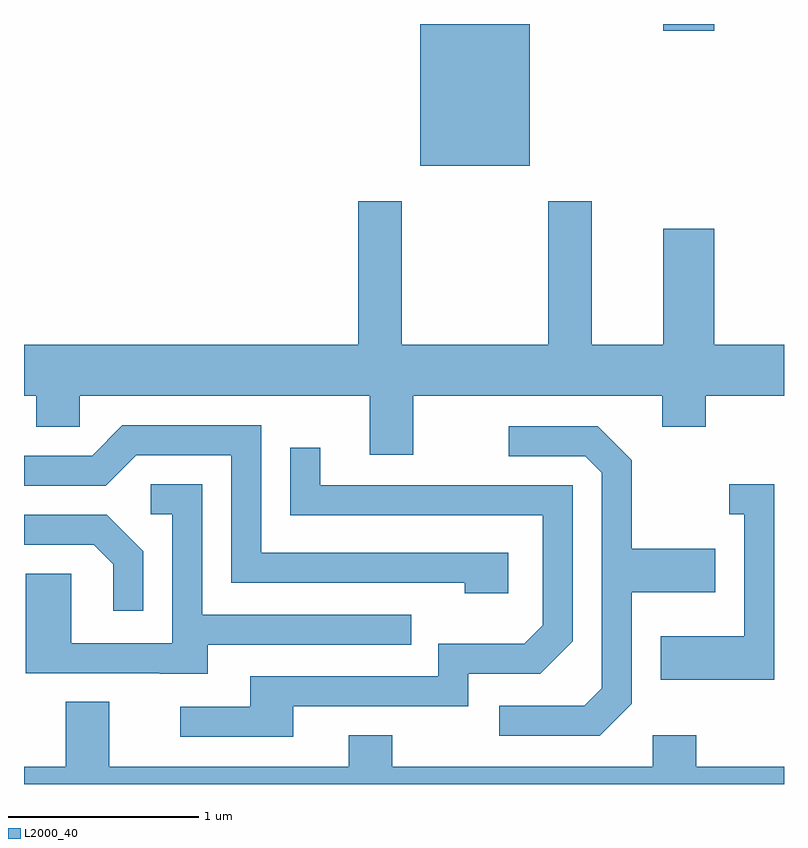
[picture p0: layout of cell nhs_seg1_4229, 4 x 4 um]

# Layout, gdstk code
import gdstk
lib = gdstk.Library(unit=1e-6, precision=1e-09)
def R(c, l, rs):  # rectangles x0, y0, x1, y1
    for r in rs: c.add(gdstk.rectangle(r[:2], r[2:], *l))
def P(c, l, *ps):  # polygons
    for p in ps: c.add(gdstk.Polygon(p, *l))
L2000_40 = (2000, 40)

nhs_seg1_4229 = lib.new_cell('nhs_seg1_4229')
R(nhs_seg1_4229, L2000_40, [(313.696,942.966,314.274,943.712), (314.976,943.676,315.244,943.712)])
P(nhs_seg1_4229, L2000_40, [(313.659,941.756),(314.971,941.756),(314.971,941.591),(315.199,941.591),(315.199,941.756),(315.611,941.756),(315.611,942.024),(315.244,942.024),(315.244,942.634),(314.976,942.634),(314.976,942.024),(314.599,942.024),(314.599,942.779),(314.371,942.779),(314.371,942.024),(313.599,942.024),(313.599,942.779),(313.371,942.779),(313.371,942.024),(311.611,942.024),(311.611,941.756),(311.676,941.756),(311.676,941.591),(311.904,941.591),(311.904,941.756),(313.431,941.756),(313.431,941.446),(313.659,941.446)],
  [(314.159,940.929),(312.859,940.929),(312.859,941.599),(312.129,941.599),(311.969,941.439),(311.611,941.439),(311.611,941.281),(312.042,941.281),(312.202,941.441),(312.701,941.441),(312.701,940.771),(313.931,940.771),(313.931,940.716),(314.159,940.716)],
  [(314.809,940.134),(314.809,940.721),(315.249,940.721),(315.249,940.949),(314.809,940.949),(314.809,941.417),(314.632,941.594),(314.163,941.594),(314.163,941.436),(314.564,941.436),(314.651,941.349),(314.651,940.217),(314.559,940.124),(314.113,940.124),(314.113,939.966),(314.642,939.966)],
  [(313.029,940.121),(313.949,940.121),(313.949,940.291),(314.327,940.291),(314.499,940.464),(314.499,941.284),(313.169,941.284),(313.169,941.483),(313.011,941.483),(313.011,941.126),(314.341,941.126),(314.341,940.547),(314.244,940.449),(313.791,940.449),(313.791,940.279),(312.801,940.279),(312.801,940.119),(312.433,940.119),(312.433,939.961),(313.029,939.961)],
  [(315.559,941.289),(315.323,941.289),(315.323,941.131),(315.401,941.131),(315.401,940.489),(314.961,940.489),(314.961,940.261),(315.559,940.261)],
  [(312.579,940.446),(313.648,940.446),(313.648,940.604),(312.549,940.604),(312.549,941.289),(312.278,941.289),(312.278,941.131),(312.391,941.131),(312.391,940.454),(311.859,940.454),(311.859,940.819),(311.621,940.819),(311.621,940.296),(312.325,940.296),(312.325,940.291),(312.579,940.291)],
  [(312.239,940.937),(312.047,941.129),(311.611,941.129),(311.611,940.971),(311.979,940.971),(312.081,940.869),(312.081,940.623),(312.239,940.623)],
  [(315.611,939.804),(315.149,939.804),(315.149,939.969),(314.921,939.969),(314.921,939.804),(313.549,939.804),(313.549,939.969),(313.321,939.969),(313.321,939.804),(312.059,939.804),(312.059,940.144),(311.831,940.144),(311.831,939.804),(311.611,939.804),(311.611,939.712),(315.611,939.712)])

lib.write_gds('nhs_seg1_4229.gds')
